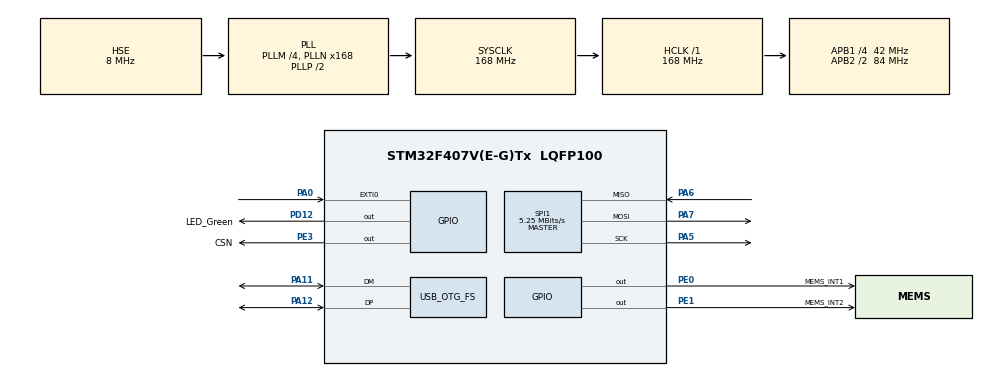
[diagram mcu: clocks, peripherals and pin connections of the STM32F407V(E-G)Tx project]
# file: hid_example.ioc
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Mcu.Family=STM32F4
Mcu.Name=STM32F407V(E-G)Tx
Mcu.Package=LQFP100
NVIC.EXTI0_IRQn=true\:0\:0\:false\:false\:true\:true
NVIC.OTG_FS_IRQn=true\:1\:0\:true\:false\:true\:false
NVIC.PriorityGroup=NVIC_PRIORITYGROUP_4
NVIC.SPI1_IRQn=true\:2\:0\:true\:false\:true\:true
PA0-WKUP.GPIO_ModeDefaultEXTI=GPIO_MODE_IT_RISING_FALLING
PA0-WKUP.GPIO_PuPd=GPIO_PULLDOWN
PA0-WKUP.Signal=GPXTI0
PA11.Mode=Device_Only
PA11.Signal=USB_OTG_FS_DM
PA12.Mode=Device_Only
PA12.Signal=USB_OTG_FS_DP
PA5.Mode=Full_Duplex_Master
PA5.Signal=SPI1_SCK
PA6.Mode=Full_Duplex_Master
PA6.Signal=SPI1_MISO
PA7.Mode=Full_Duplex_Master
PA7.Signal=SPI1_MOSI
PD12.GPIO_Label=LED_Green
PD12.Signal=GPIO_Output
PE0.GPIO_Label=MEMS_INT1
PE0.Signal=GPIO_Output
PE1.GPIO_Label=MEMS_INT2
PE1.Signal=GPIO_Output
PE3.GPIO_Label=CSN
PE3.GPIO_Speed=GPIO_SPEED_FREQ_HIGH
PE3.PinState=GPIO_PIN_SET
PE3.Signal=GPIO_Output
PH0-OSC_IN.Mode=HSE-External-Oscillator
PH0-OSC_IN.Signal=RCC_OSC_IN
PH1-OSC_OUT.Mode=HSE-External-Oscillator
PH1-OSC_OUT.Signal=RCC_OSC_OUT
ProjectManager.HeapSize=0x200
ProjectManager.StackSize=0x400
ProjectManager.TargetToolchain=MDK-ARM V5
RCC.48MHZClocksFreq_Value=48000000
RCC.AHBFreq_Value=168000000
RCC.APB1CLKDivider=RCC_HCLK_DIV4
RCC.APB1Freq_Value=42000000
RCC.APB1TimFreq_Value=84000000
RCC.APB2CLKDivider=RCC_HCLK_DIV2
RCC.APB2Freq_Value=84000000
RCC.APB2TimFreq_Value=168000000
RCC.CortexFreq_Value=168000000
RCC.HCLKFreq_Value=168000000
RCC.HSE_VALUE=8000000
RCC.HSI_VALUE=16000000
RCC.LSE_VALUE=32768
RCC.PLLM=4
RCC.PLLN=168
RCC.PLLQ=7
RCC.SYSCLKFreq_VALUE=168000000
RCC.SYSCLKSource=RCC_SYSCLKSOURCE_PLLCLK
RCC.VCOOutputFreq_Value=336000000
SPI1.BaudRatePrescaler=SPI_BAUDRATEPRESCALER_16
SPI1.CalculateBaudRate=5.25 MBits/s
SPI1.Direction=SPI_DIRECTION_2LINES
SPI1.Mode=SPI_MODE_MASTER
SPI1.VirtualType=VM_MASTER
USB_DEVICE.CLASS_NAME_FS=HID
USB_DEVICE.VirtualMode-HID_FS=Hid
USB_DEVICE.VirtualModeFS=Hid_FS
USB_OTG_FS.VirtualMode=Device_Only
VP_USB_DEVICE_VS_USB_DEVICE_HID_FS.Mode=HID_FS
board=custom

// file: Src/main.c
/**
  ******************************************************************************
  * @file           : main.c
  * @brief          : Main program body
  ******************************************************************************
  * This notice applies to any and all portions of this file
  * that are not between comment pairs USER CODE BEGIN and
  * USER CODE END. Other portions of this file, whether
  * inserted by the user or by software development tools
  * are owned by their respective copyright owners.
  *
  * Copyright (c) 2019 STMicroelectronics International N.V.
  * All rights reserved.
  *
  * Redistribution and use in source and binary forms, with or without
  * modification, are permitted, provided that the following conditions are met:
  *
  * 1. Redistribution of source code must retain the above copyright notice,
  *    this list of conditions and the following disclaimer.
  * 2. Redistributions in binary form must reproduce the above copyright notice,
  *    this list of conditions and the following disclaimer in the documentation
  *    and/or other materials provided with the distribution.
  * 3. Neither the name of STMicroelectronics nor the names of other
  *    contributors to this software may be used to endorse or promote products
  *    derived from this software without specific written permission.
  * 4. This software, including modifications and/or derivative works of this
  *    software, must execute solely and exclusively on microcontroller or
  *    microprocessor devices manufactured by or for STMicroelectronics.
  * 5. Redistribution and use of this software other than as permitted under
  *    this license is void and will automatically terminate your rights under
  *    this license.
  *
  * THIS SOFTWARE IS PROVIDED BY STMICROELECTRONICS AND CONTRIBUTORS "AS IS"
  * AND ANY EXPRESS, IMPLIED OR STATUTORY WARRANTIES, INCLUDING, BUT NOT
  * LIMITED TO, THE IMPLIED WARRANTIES OF MERCHANTABILITY, FITNESS FOR A
  * PARTICULAR PURPOSE AND NON-INFRINGEMENT OF THIRD PARTY INTELLECTUAL PROPERTY
  * RIGHTS ARE DISCLAIMED TO THE FULLEST EXTENT PERMITTED BY LAW. IN NO EVENT
  * SHALL STMICROELECTRONICS OR CONTRIBUTORS BE LIABLE FOR ANY DIRECT, INDIRECT,
  * INCIDENTAL, SPECIAL, EXEMPLARY, OR CONSEQUENTIAL DAMAGES (INCLUDING, BUT NOT
  * LIMITED TO, PROCUREMENT OF SUBSTITUTE GOODS OR SERVICES; LOSS OF USE, DATA,
  * OR PROFITS; OR BUSINESS INTERRUPTION) HOWEVER CAUSED AND ON ANY THEORY OF
  * LIABILITY, WHETHER IN CONTRACT, STRICT LIABILITY, OR TORT (INCLUDING
  * NEGLIGENCE OR OTHERWISE) ARISING IN ANY WAY OUT OF THE USE OF THIS SOFTWARE,
  * EVEN IF ADVISED OF THE POSSIBILITY OF SUCH DAMAGE.
  *
  ******************************************************************************
  */
#include "main.h"
#include "stm32f4xx_hal.h"
#include "usb_device.h"

/* USER CODE BEGIN Includes */
#define REPORT_DELAY_MS	5
#define THRESHOLD				500

#include "usbd_hid.h"
#include "lis3dsh.h"
/* USER CODE END Includes */

SPI_HandleTypeDef hspi1;

/* USER CODE BEGIN PV */
/* Private variables ---------------------------------------------------------*/
extern USBD_HandleTypeDef hUsbDeviceFS;
int16_t acc_buffer[3];
int8_t hid_buffer[4];
/* USER CODE END PV */

void SystemClock_Config(void);
static void MX_GPIO_Init(void);
static void MX_SPI1_Init(void);

/* USER CODE BEGIN PFP */
/* Private function prototypes -----------------------------------------------*/

/* USER CODE END PFP */

int main(void)
{

  /* MCU Configuration----------------------------------------------------------*/

  /* Reset of all peripherals, Initializes the Flash interface and the Systick. */
  HAL_Init();

  /* Configure the system clock */
  SystemClock_Config();

  /* Initialize all configured peripherals */
  MX_GPIO_Init();
  MX_USB_DEVICE_Init();
  MX_SPI1_Init();
  /* USER CODE BEGIN 2 */

	//init accelerometer
	Accel_Ini();
  /* USER CODE END 2 */

  /* Infinite loop */
  /* USER CODE BEGIN WHILE */
  while (1)
  {
		HAL_Delay(REPORT_DELAY_MS);

		//refresh data in acc_buffer
		Accel_ReadAcc();

		//decide where to move cursor if values of acceleration are more than threshold
		if (acc_buffer[0] > THRESHOLD) hid_buffer[1] = 1;
		else if (acc_buffer[0] < -THRESHOLD) hid_buffer[1] = -1;
		else hid_buffer[1] = 0;

		if (acc_buffer[1] > THRESHOLD) hid_buffer[2] = 1;
		else if (acc_buffer[1] < -THRESHOLD) hid_buffer[2] = -1;
		else hid_buffer[2] = 0;

		USBD_HID_SendReport(&hUsbDeviceFS, (uint8_t *) hid_buffer, sizeof(hid_buffer));
  /* USER CODE END WHILE */

  }

}

void SystemClock_Config(void)
{

  RCC_OscInitTypeDef RCC_OscInitStruct;
  RCC_ClkInitTypeDef RCC_ClkInitStruct;

    /**Configure the main internal regulator output voltage
    */
  __HAL_RCC_PWR_CLK_ENABLE();

  __HAL_PWR_VOLTAGESCALING_CONFIG(PWR_REGULATOR_VOLTAGE_SCALE1);

    /**Initializes the CPU, AHB and APB busses clocks
    */
  RCC_OscInitStruct.OscillatorType = RCC_OSCILLATORTYPE_HSE;
  RCC_OscInitStruct.HSEState = RCC_HSE_ON;
  RCC_OscInitStruct.PLL.PLLState = RCC_PLL_ON;
  RCC_OscInitStruct.PLL.PLLSource = RCC_PLLSOURCE_HSE;
  RCC_OscInitStruct.PLL.PLLM = 4;
  RCC_OscInitStruct.PLL.PLLN = 168;
  RCC_OscInitStruct.PLL.PLLP = RCC_PLLP_DIV2;
  RCC_OscInitStruct.PLL.PLLQ = 7;
  if (HAL_RCC_OscConfig(&RCC_OscInitStruct) != HAL_OK)
  {
    _Error_Handler(__FILE__, __LINE__);
  }

    /**Initializes the CPU, AHB and APB busses clocks
    */
  RCC_ClkInitStruct.ClockType = RCC_CLOCKTYPE_HCLK|RCC_CLOCKTYPE_SYSCLK
                              |RCC_CLOCKTYPE_PCLK1|RCC_CLOCKTYPE_PCLK2;
  RCC_ClkInitStruct.SYSCLKSource = RCC_SYSCLKSOURCE_PLLCLK;
  RCC_ClkInitStruct.AHBCLKDivider = RCC_SYSCLK_DIV1;
  RCC_ClkInitStruct.APB1CLKDivider = RCC_HCLK_DIV4;
  RCC_ClkInitStruct.APB2CLKDivider = RCC_HCLK_DIV2;

  if (HAL_RCC_ClockConfig(&RCC_ClkInitStruct, FLASH_LATENCY_5) != HAL_OK)
  {
    _Error_Handler(__FILE__, __LINE__);
  }

    /**Configure the Systick interrupt time
    */
  HAL_SYSTICK_Config(HAL_RCC_GetHCLKFreq()/1000);

    /**Configure the Systick
    */
  HAL_SYSTICK_CLKSourceConfig(SYSTICK_CLKSOURCE_HCLK);

  /* SysTick_IRQn interrupt configuration */
  HAL_NVIC_SetPriority(SysTick_IRQn, 0, 0);
}

/* SPI1 init function */
static void MX_SPI1_Init(void)
{

  /* SPI1 parameter configuration*/
  hspi1.Instance = SPI1;
  hspi1.Init.Mode = SPI_MODE_MASTER;
  hspi1.Init.Direction = SPI_DIRECTION_2LINES;
  hspi1.Init.DataSize = SPI_DATASIZE_8BIT;
  hspi1.Init.CLKPolarity = SPI_POLARITY_LOW;
  hspi1.Init.CLKPhase = SPI_PHASE_1EDGE;
  hspi1.Init.NSS = SPI_NSS_SOFT;
  hspi1.Init.BaudRatePrescaler = SPI_BAUDRATEPRESCALER_16;
  hspi1.Init.FirstBit = SPI_FIRSTBIT_MSB;
  hspi1.Init.TIMode = SPI_TIMODE_DISABLE;
  hspi1.Init.CRCCalculation = SPI_CRCCALCULATION_DISABLE;
  hspi1.Init.CRCPolynomial = 10;
  if (HAL_SPI_Init(&hspi1) != HAL_OK)
  {
    _Error_Handler(__FILE__, __LINE__);
  }

}

/** Configure pins as
        * Analog
        * Input
        * Output
        * EVENT_OUT
        * EXTI
*/
static void MX_GPIO_Init(void)
{

  GPIO_InitTypeDef GPIO_InitStruct;

  /* GPIO Ports Clock Enable */
  __HAL_RCC_GPIOE_CLK_ENABLE();
  __HAL_RCC_GPIOH_CLK_ENABLE();
  __HAL_RCC_GPIOA_CLK_ENABLE();
  __HAL_RCC_GPIOD_CLK_ENABLE();

  /*Configure GPIO pin Output Level */
  HAL_GPIO_WritePin(CSN_GPIO_Port, CSN_Pin, GPIO_PIN_SET);

  /*Configure GPIO pin Output Level */
  HAL_GPIO_WritePin(LED_Green_GPIO_Port, LED_Green_Pin, GPIO_PIN_RESET);

  /*Configure GPIO pin Output Level */
  HAL_GPIO_WritePin(GPIOE, MEMS_INT1_Pin|MEMS_INT2_Pin, GPIO_PIN_RESET);

  /*Configure GPIO pin : CSN_Pin */
  GPIO_InitStruct.Pin = CSN_Pin;
  GPIO_InitStruct.Mode = GPIO_MODE_OUTPUT_PP;
  GPIO_InitStruct.Pull = GPIO_NOPULL;
  GPIO_InitStruct.Speed = GPIO_SPEED_FREQ_HIGH;
  HAL_GPIO_Init(CSN_GPIO_Port, &GPIO_InitStruct);

  /*Configure GPIO pin : PA0 */
  GPIO_InitStruct.Pin = GPIO_PIN_0;
  GPIO_InitStruct.Mode = GPIO_MODE_IT_RISING_FALLING;
  GPIO_InitStruct.Pull = GPIO_PULLDOWN;
  HAL_GPIO_Init(GPIOA, &GPIO_InitStruct);

  /*Configure GPIO pin : LED_Green_Pin */
  GPIO_InitStruct.Pin = LED_Green_Pin;
  GPIO_InitStruct.Mode = GPIO_MODE_OUTPUT_PP;
  GPIO_InitStruct.Pull = GPIO_NOPULL;
  GPIO_InitStruct.Speed = GPIO_SPEED_FREQ_LOW;
  HAL_GPIO_Init(LED_Green_GPIO_Port, &GPIO_InitStruct);

  /*Configure GPIO pins : MEMS_INT1_Pin MEMS_INT2_Pin */
  GPIO_InitStruct.Pin = MEMS_INT1_Pin|MEMS_INT2_Pin;
  GPIO_InitStruct.Mode = GPIO_MODE_OUTPUT_PP;
  GPIO_InitStruct.Pull = GPIO_NOPULL;
  GPIO_InitStruct.Speed = GPIO_SPEED_FREQ_LOW;
  HAL_GPIO_Init(GPIOE, &GPIO_InitStruct);

  /* EXTI interrupt init*/
  HAL_NVIC_SetPriority(EXTI0_IRQn, 0, 0);
  HAL_NVIC_EnableIRQ(EXTI0_IRQn);

}

void _Error_Handler(char *file, int line)
{
  while(1)
  {
  }
}

/************************ (C) COPYRIGHT STMicroelectronics *****END OF FILE****/
